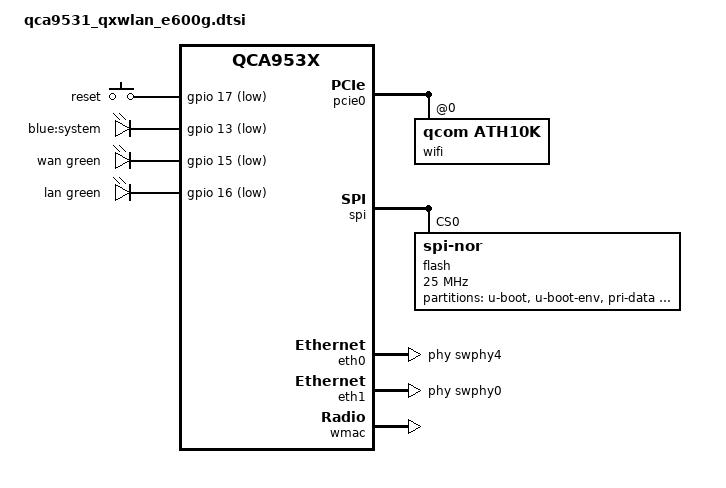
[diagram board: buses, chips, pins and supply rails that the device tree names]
// SPDX-License-Identifier: GPL-2.0-or-later OR MIT

#include "qca953x.dtsi"

#include <dt-bindings/gpio/gpio.h>
#include <dt-bindings/input/input.h>
#include <dt-bindings/leds/common.h>

/ {
	aliases {
		label-mac-device = &eth0;
		led-boot = &led_system;
		led-failsafe = &led_system;
		led-running = &led_system;
		led-upgrade = &led_system;
	};

	keys: keys {
		compatible = "gpio-keys";

		reset {
			label = "reset";
			linux,code = <KEY_RESTART>;
			gpios = <&gpio 17 GPIO_ACTIVE_LOW>;
			debounce-interval = <60>;
		};
	};

	leds: leds {
		compatible = "gpio-leds";

		led_system: system {
			label = "blue:system";
			gpios = <&gpio 13 GPIO_ACTIVE_LOW>;
			default-state = "on";
		};

		wan {
			function = LED_FUNCTION_WAN;
			color = <LED_COLOR_ID_GREEN>;
			gpios = <&gpio 15 GPIO_ACTIVE_LOW>;
		};

		lan {
			function = LED_FUNCTION_LAN;
			color = <LED_COLOR_ID_GREEN>;
			gpios = <&gpio 16 GPIO_ACTIVE_LOW>;
		};
	};
};

&pcie0 {
	status = "okay";

	wifi@0,0 {
		compatible = "qcom,ath10k";
		reg = <0x0000 0 0 0 0>;
		nvmem-cells = <&cal_art_5000>;
		nvmem-cell-names = "calibration";
	};
};

&spi {
	status = "okay";

	flash@0 {
		compatible = "jedec,spi-nor";
		reg = <0>;
		spi-max-frequency = <25000000>;

		partitions: partitions {
			compatible = "fixed-partitions";
			#address-cells = <1>;
			#size-cells = <1>;

			partition@0 {
				label = "u-boot";
				reg = <0x000000 0x040000>;
				read-only;
			};

			partition@40000 {
				label = "u-boot-env";
				reg = <0x040000 0x010000>;
				read-only;
			};

			pridata: partition@50000 {
				label = "pri-data";
				reg = <0x050000 0x010000>;
				read-only;

				nvmem-layout {
					compatible = "fixed-layout";
					#address-cells = <1>;
					#size-cells = <1>;

					macaddr_pridata_400: macaddr@400 {
						compatible = "mac-base";
						reg = <0x400 0x6>;
						#nvmem-cell-cells = <1>;
					};

					cal_art_5000: calibration@5000 {
						reg = <0x5000 0x844>;
					};
				};
			};

			partition@60000 {
				label = "art";
				reg = <0x060000 0x010000>;
				read-only;

				nvmem-layout {
					compatible = "fixed-layout";
					#address-cells = <1>;
					#size-cells = <1>;

					cal_art_1000: calibration@1000 {
						reg = <0x1000 0x440>;
					};
				};
			};
		};
	};
};

&eth0 {
	status = "okay";

	phy-handle = <&swphy4>;

	nvmem-cells = <&macaddr_pridata_400 1>;
	nvmem-cell-names = "mac-address";
};

&eth1 {
	phy-handle = <&swphy0>;

	nvmem-cells = <&macaddr_pridata_400 0>;
	nvmem-cell-names = "mac-address";

	/delete-node/ fixed-link;
};

&wmac {
	status = "okay";

	nvmem-cells = <&cal_art_1000>;
	nvmem-cell-names = "calibration";
};
